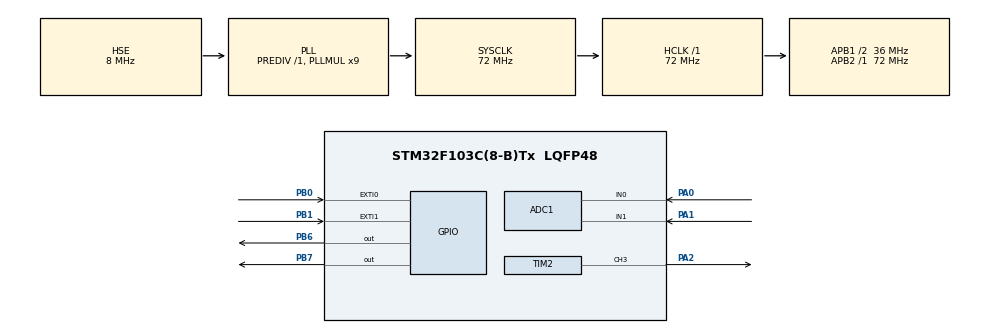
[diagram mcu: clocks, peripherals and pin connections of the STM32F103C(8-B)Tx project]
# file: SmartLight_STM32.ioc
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ADC1.Channel-0\#ChannelRegularConversion=ADC_CHANNEL_0
ADC1.Channel-1\#ChannelRegularConversion=ADC_CHANNEL_1
ADC1.ContinuousConvMode=ENABLE
ADC1.NbrOfConversion=2
ADC1.NbrOfConversionFlag=1
ADC1.Rank-0\#ChannelRegularConversion=1
ADC1.Rank-1\#ChannelRegularConversion=2
ADC1.SamplingTime-0\#ChannelRegularConversion=ADC_SAMPLETIME_239CYCLES_5
ADC1.SamplingTime-1\#ChannelRegularConversion=ADC_SAMPLETIME_239CYCLES_5
ADC1.master=1
Dma.ADC1.0.Direction=DMA_PERIPH_TO_MEMORY
Dma.ADC1.0.Instance=DMA1_Channel1
Dma.ADC1.0.MemDataAlignment=DMA_MDATAALIGN_HALFWORD
Dma.ADC1.0.MemInc=DMA_MINC_ENABLE
Dma.ADC1.0.Mode=DMA_CIRCULAR
Dma.ADC1.0.PeriphDataAlignment=DMA_PDATAALIGN_HALFWORD
Dma.ADC1.0.PeriphInc=DMA_PINC_DISABLE
Dma.ADC1.0.Priority=DMA_PRIORITY_LOW
Dma.Request0=ADC1
Mcu.Family=STM32F1
Mcu.Name=STM32F103C(8-B)Tx
Mcu.Package=LQFP48
NVIC.DMA1_Channel1_IRQn=true\:0\:0\:false\:false\:true\:false\:true\:true
NVIC.EXTI0_IRQn=true\:0\:0\:false\:false\:true\:true\:true\:true
NVIC.EXTI1_IRQn=true\:0\:0\:false\:false\:true\:true\:true\:true
NVIC.PriorityGroup=NVIC_PRIORITYGROUP_4
PA0-WKUP.Signal=ADCx_IN0
PA1.Signal=ADCx_IN1
PA13.Mode=Serial_Wire
PA13.Signal=SYS_JTMS-SWDIO
PA14.Mode=Serial_Wire
PA14.Signal=SYS_JTCK-SWCLK
PA2.Signal=S_TIM2_CH3
PB0.GPIO_ModeDefaultEXTI=GPIO_MODE_IT_FALLING
PB0.GPIO_PuPd=GPIO_PULLUP
PB0.Signal=GPXTI0
PB1.GPIO_ModeDefaultEXTI=GPIO_MODE_IT_RISING_FALLING
PB1.GPIO_PuPd=GPIO_PULLDOWN
PB1.Signal=GPXTI1
PB6.Signal=GPIO_Output
PB7.Signal=GPIO_Output
PD0-OSC_IN.Mode=HSE-External-Oscillator
PD0-OSC_IN.Signal=RCC_OSC_IN
PD1-OSC_OUT.Mode=HSE-External-Oscillator
PD1-OSC_OUT.Signal=RCC_OSC_OUT
ProjectManager.HeapSize=0x200
ProjectManager.StackSize=0x400
ProjectManager.TargetToolchain=MDK-ARM V5
RCC.AHBFreq_Value=72000000
RCC.APB1CLKDivider=RCC_HCLK_DIV2
RCC.APB1Freq_Value=36000000
RCC.APB1TimFreq_Value=72000000
RCC.APB2Freq_Value=72000000
RCC.APB2TimFreq_Value=72000000
RCC.HCLKFreq_Value=72000000
RCC.PLLMUL=RCC_PLL_MUL9
RCC.PLLSourceVirtual=RCC_PLLSOURCE_HSE
RCC.SYSCLKFreq_VALUE=72000000
RCC.SYSCLKSource=RCC_SYSCLKSOURCE_PLLCLK
RCC.USBFreq_Value=72000000
SH.ADCx_IN0.0=ADC1_IN0,IN0
SH.ADCx_IN1.0=ADC1_IN1,IN1
SH.S_TIM2_CH3.0=TIM2_CH3,PWM Generation3 CH3
TIM2.Channel-PWM\ Generation3\ CH3=TIM_CHANNEL_3
TIM2.Period=999
TIM2.Prescaler=71
VP_TIM2_VS_ClockSourceINT.Mode=Internal
board=custom

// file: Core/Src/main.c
/* USER CODE BEGIN Header */
/**
  ******************************************************************************
  * @file           : main.c
  * @brief          : Main program body
  ******************************************************************************
  * @attention
  *
  * Copyright (c) 2026 STMicroelectronics.
  * All rights reserved.
  *
  * This software is licensed under terms that can be found in the LICENSE file
  * in the root directory of this software component.
  * If no LICENSE file comes with this software, it is provided AS-IS.
  *
  ******************************************************************************
  */
/* USER CODE END Header */
#include "main.h"
#include "adc.h"
#include "dma.h"
#include "tim.h"
#include "gpio.h"

/* USER CODE BEGIN Includes */
#include "sensor_filter.h"
#include "led_dimmer.h"
#include "seg7_display.h"
/* USER CODE END Includes */

/* USER CODE BEGIN PV */
// Ð?nh nghia State Machine cho ch? d? ho?t d?ng
typedef enum {
    MODE_AUTO = 0,
    MODE_MANUAL = 1
} SystemMode_t;

volatile SystemMode_t current_mode = MODE_AUTO;
volatile uint8_t is_person_detected = 0;      // C? báo có ngu?i t? PIR
volatile uint32_t last_motion_tick = 0;       // Th?i di?m cu?i cùng PIR còn phát hi?n ngu?i
volatile uint32_t last_button_tick = 0;       // Bi?n ch?ng d?i nút nh?n

uint16_t adc_dma_buffer[2];                   // [0]: LDR (PA0), [1]: Bi?n tr? (PA1)
MovingAverageFilter_t ldr_filter;
MovingAverageFilter_t pot_filter;

#define PIR_HOLD_TIME_MS   3000              // Gi? dèn sáng 10 giây sau khi ngu?i r?i di
#define DAYLIGHT_THRESHOLD 2000               // Ngu?ng tr?i n?ng g?t thì t?t h?n dèn
/* USER CODE END PV */

void SystemClock_Config(void);

/* USER CODE BEGIN 0 */
// HÀM L?NG NGHE S? KI?N NG?T NGOÀI (EXTI CALLBACK)
void HAL_GPIO_EXTI_Callback(uint16_t GPIO_Pin) {
    uint32_t current_tick = HAL_GetTick();

    // 1. X? lý s? ki?n nh?n nút (Chân PB0 - EXTI0)
    if (GPIO_Pin == GPIO_PIN_0) {
        // Ch?ng d?i phím b?ng ph?n m?m (Software Debounce 200ms)
        if (current_tick - last_button_tick > 200) {
            current_mode = (current_mode == MODE_AUTO) ? MODE_MANUAL : MODE_AUTO;
            last_button_tick = current_tick;
        }
    }

    // 2. X? lý s? ki?n t? C?m bi?n PIR HC-SR501 (Chân PB1 - EXTI1)
    if (GPIO_Pin == GPIO_PIN_1) {
        // Ð?c tr?ng thái th?c t? c?a chân PB1 t?i th?i di?m ng?t
        if (HAL_GPIO_ReadPin(GPIOB, GPIO_PIN_1) == GPIO_PIN_SET) {
            // Su?n lên (Rising Edge): Có ngu?i bu?c vào
            is_person_detected = 1;
        }
        // C?p nh?t l?i m?c th?i gian m?i khi có bi?n d?ng t? PIR
        last_motion_tick = current_tick;
    }
}
/* USER CODE END 0 */

int main(void)
{

  /* MCU Configuration--------------------------------------------------------*/

  /* Reset of all peripherals, Initializes the Flash interface and the Systick. */
  HAL_Init();

  /* Configure the system clock */
  SystemClock_Config();

  /* Initialize all configured peripherals */
  MX_GPIO_Init();
  MX_DMA_Init();
  MX_ADC1_Init();
  MX_TIM2_Init();
  /* USER CODE BEGIN 2 */
  // Kh?i t?o các Service / Module
  Filter_Init(&ldr_filter);
  Filter_Init(&pot_filter);
  Dimmer_Init(&htim2, TIM_CHANNEL_3);
  Seg7_Init();

  // B?t d?u quét ADC 2 kênh liên t?c b?ng DMA
  HAL_ADC_Start_DMA(&hadc1, (uint32_t*)adc_dma_buffer, 2);
  /* USER CODE END 2 */

  /* Infinite loop */
  while (1)
  {

    /* USER CODE BEGIN 3 */
    // BU?C 1: L?y d? li?u thô t? DMA và dua qua b? l?c trung bình tru?t
    uint16_t ldr_val = Filter_Update(&ldr_filter, adc_dma_buffer[0]);
    uint16_t pot_val = Filter_Update(&pot_filter, adc_dma_buffer[1]);

    uint8_t target_brightness = 0; // Ð? sáng m?c tiêu (0 - 100%)

// BU?C 2: X? lý Business Logic theo ch? d? (State Machine)
    if (current_mode == MODE_MANUAL) {
        // Ch? d? ch?nh tay: Ph? thu?c 100% vào Bi?n tr? (0 -> 4095)
        target_brightness = (uint8_t)((pot_val * 100) / 4095);
    }
    else {
        // Ch? d? T? d?ng: Hai c?m bi?n ho?t d?ng Ð?C L?P (Logic OR)

        // 1. C?p nh?t tr?ng thái C?m bi?n ngu?i (PIR)
        if (HAL_GPIO_ReadPin(GPIOB, GPIO_PIN_1) == GPIO_PIN_SET) {
            is_person_detected = 1;
            last_motion_tick = HAL_GetTick();
        }
        else if (HAL_GetTick() - last_motion_tick > PIR_HOLD_TIME_MS) {
            is_person_detected = 0;
        }

        // 2. Tính toán d? sáng d?a trên Quang tr? (LDR) tru?c
        uint8_t ldr_brightness = 0;

        // Ð?t ngu?ng tr?i sáng (Ví d?: 1000). Du?i m?c này là tr?i ban ngày.
        if (ldr_val <= 1000) {
            ldr_brightness = 0; // Tr?i ban ngày
        } else {
            // Tr?i s?p t?i (ADC > 1000) -> % d? sáng tang d?n theo d? t?i
            ldr_brightness = (uint8_t)((ldr_val * 100) / 4095);
        }

        // 3. X? lý Logic HO?C (Quy?t d?nh d? sáng cu?i cùng)
        if (ldr_brightness > 0) {
            // BAN ÐÊM: Quang tr? dã báo t?i -> Uu tiên b?t dèn theo d? t?i c?a tr?i
            // (Lúc này không c?n quan tâm bi?n is_person_detected n?a)
            target_brightness = ldr_brightness;
        }
        else {
            // BAN NGÀY: Quang tr? báo sáng (ldr_brightness = 0)
            if (is_person_detected) {
                // Có ngu?i di qua vào ban ngày -> Ép b?t dèn ? m?c c? d?nh (VD: 50%)
                target_brightness = 100;
            } else {
                // Không có ngu?i vào ban ngày -> T?t dèn hoàn toàn
                target_brightness = 0;
            }
        }
    }

    // BU?C 3: Ð?y ra t?ng Output (Qua hi?u ch?nh Gamma -> PWM MOSFET)
    Dimmer_SetBrightness(&htim2, TIM_CHANNEL_3, target_brightness);

    // BU?C 4: Hi?n th? LED 7 do?n (T?i uu I/O: Ch? d?y data khi % thay d?i)
    static uint8_t last_displayed_percent = 255;
    if (target_brightness != last_displayed_percent) {
        Seg7_DisplayPercent(target_brightness);
        last_displayed_percent = target_brightness;
    }

    HAL_Delay(50); // Chu k? l?y m?u và c?p nh?t h? th?ng: 50ms (20 l?n/giây)
  }
  /* USER CODE END 3 */
}

void SystemClock_Config(void)
{
  RCC_OscInitTypeDef RCC_OscInitStruct = {0};
  RCC_ClkInitTypeDef RCC_ClkInitStruct = {0};
  RCC_PeriphCLKInitTypeDef PeriphClkInit = {0};

  /** Initializes the RCC Oscillators according to the specified parameters
  * in the RCC_OscInitTypeDef structure.
  */
  RCC_OscInitStruct.OscillatorType = RCC_OSCILLATORTYPE_HSE;
  RCC_OscInitStruct.HSEState = RCC_HSE_ON;
  RCC_OscInitStruct.HSEPredivValue = RCC_HSE_PREDIV_DIV1;
  RCC_OscInitStruct.HSIState = RCC_HSI_ON;
  RCC_OscInitStruct.PLL.PLLState = RCC_PLL_ON;
  RCC_OscInitStruct.PLL.PLLSource = RCC_PLLSOURCE_HSE;
  RCC_OscInitStruct.PLL.PLLMUL = RCC_PLL_MUL9;
  if (HAL_RCC_OscConfig(&RCC_OscInitStruct) != HAL_OK)
  {
    Error_Handler();
  }

  /** Initializes the CPU, AHB and APB buses clocks
  */
  RCC_ClkInitStruct.ClockType = RCC_CLOCKTYPE_HCLK|RCC_CLOCKTYPE_SYSCLK
                              |RCC_CLOCKTYPE_PCLK1|RCC_CLOCKTYPE_PCLK2;
  RCC_ClkInitStruct.SYSCLKSource = RCC_SYSCLKSOURCE_PLLCLK;
  RCC_ClkInitStruct.AHBCLKDivider = RCC_SYSCLK_DIV1;
  RCC_ClkInitStruct.APB1CLKDivider = RCC_HCLK_DIV2;
  RCC_ClkInitStruct.APB2CLKDivider = RCC_HCLK_DIV1;

  if (HAL_RCC_ClockConfig(&RCC_ClkInitStruct, FLASH_LATENCY_2) != HAL_OK)
  {
    Error_Handler();
  }
  PeriphClkInit.PeriphClockSelection = RCC_PERIPHCLK_ADC;
  PeriphClkInit.AdcClockSelection = RCC_ADCPCLK2_DIV2;
  if (HAL_RCCEx_PeriphCLKConfig(&PeriphClkInit) != HAL_OK)
  {
    Error_Handler();
  }
}

void Error_Handler(void)
{
  __disable_irq();
  while (1)
  {
  }
}
/* EOF */
